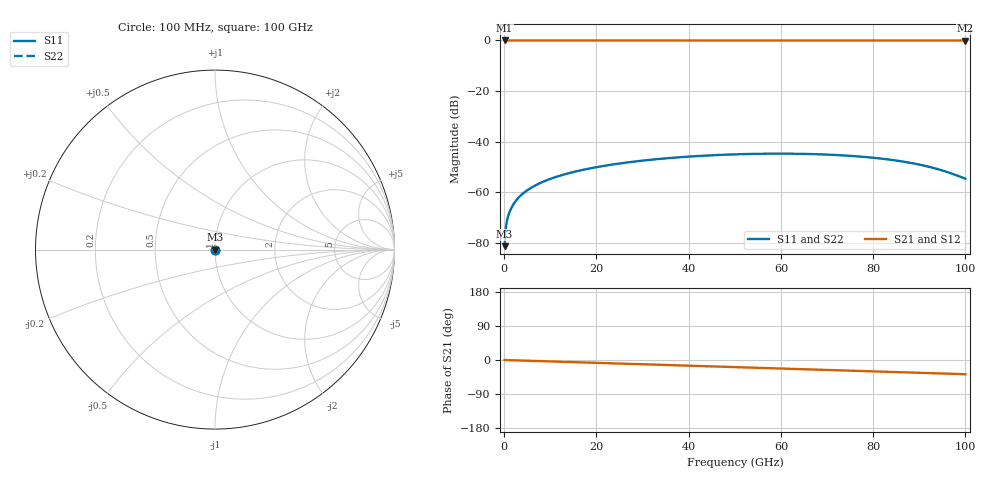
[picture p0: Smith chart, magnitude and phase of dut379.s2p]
! Touchstone file exported from HFSS 2026.1.0
!  File:  C:/ffzhzh/LocalFiles/Ansys_Project_Files/temp_train_TSV_379_1783510489_31944.aedt
!  Generated:  07:36:04 PM Jul  8, 2026
!  Design:  TSV
!  Project:  temp_train_TSV_379_1783510489_31944
! Variables:
!  h_bsmrdl = 2um
!  h_ox = 20um
!  h_rdl = 5um
!  h_sub = 71um
!  h_tmrdl = 5um
!  h_tsv = 71um
!  h_via = 3um
!  l_bsmrdl = 300um
!  l_sub = 428.38um
!  l_tmrdl = 200um
!  m_sub = 200um
!  pitch = 57.55um
!  r_tsv = 14.19um
!  s_tmrdl = 10um
!  w_bsmrdl = 18um
!  w_sub = 500um
!  w_tmrdl = 12um
!  x_tsv_center1 = 206um
!  x_tsv_center2 = 524um
!  x_tsv_center3 = 736um
!  x_tsv_center4 = 1054um
!  x_tsv_center5 = 1266um
!  x_tsv_center6 = 1584um
# GHz S MA R 50.000000
! Terminal data exported
! Port[1] = TSV1_1_T1
! Port[2] = TSV1_1_T2
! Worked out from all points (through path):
!   1000 points, 100 MHz to 100 GHz, reference 50 ohm
!   highest |S21| = 0.00 dB at 100 MHz (marker M1); lowest = 0.0 dB at 100 GHz (marker M2)
!   group delay of S21, straight-line fit = 1.04 ps
!   lowest |S11| = -81.3 dB at 100 MHz (marker M3), VSWR 1.00, Z = 50 + j0.00513 ohm
!   |S11| at or under -10 dB: start of sweep to end of sweep
!   |S22| runs from -81.3 to -44.7 dB; largest |S21 - S12| = 9.1e-15
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0.1  8.653e-05 36.3  0.9999 -0.0  0.9999 -0.0  8.653e-05 36.3
! Gamma 0 0 0 0
! Port Impedance 50 0 50 0
0.8  0.0003249 55.9  0.9998 -0.3  0.9998 -0.3  0.0003249 55.9
1  0.0003711 56.6  0.9998 -0.4  0.9998 -0.4  0.0003711 56.6
1.3  0.0004358 57.9  0.9998 -0.5  0.9998 -0.5  0.0004358 57.9
1.8  0.0005384 59.7  0.9997 -0.7  0.9997 -0.7  0.0005384 59.7
2.4  0.0006553 61.1  0.9997 -0.9  0.9997 -0.9  0.0006553 61.1
4  0.0009376 63.2  0.9996 -1.5  0.9996 -1.5  0.0009376 63.2
6.2  0.001286 64.9  0.9995 -2.3  0.9995 -2.3  0.001286 64.9
9.1  0.001717 65.9  0.9994 -3.4  0.9994 -3.4  0.001716 65.9
12.6  0.002201 66.3  0.9993 -4.7  0.9993 -4.7  0.002201 66.3
16.8  0.002748 66.2  0.9992 -6.3  0.9992 -6.3  0.002748 66.2
24.3  0.003637 65.1  0.999 -9.1  0.999 -9.1  0.003637 65.1
33.4  0.00455 62.8  0.9988 -12.5  0.9988 -12.5  0.00455 62.8
41.5  0.005183 60.2  0.9987 -15.5  0.9987 -15.5  0.005182 60.2
50.1  0.005634 57.0  0.9985 -18.7  0.9985 -18.7  0.005633 57.0
66.7  0.005704 49.3  0.9982 -24.9  0.9982 -24.9  0.005702 49.4
75.6  0.00522 43.9  0.9981 -28.3  0.9981 -28.3  0.005216 44.0
83.4  0.00445 37.5  0.998 -31.2  0.998 -31.2  0.004445 37.7
88.1  0.003824 32.1  0.9979 -33.0  0.9979 -33.0  0.003817 32.3
92.2  0.003182 25.3  0.9978 -34.5  0.9978 -34.5  0.003173 25.6
95.7  0.002583 16.5  0.9977 -35.9  0.9977 -35.9  0.002571 16.9
100  0.001861 -3.1  0.9976 -37.5  0.9976 -37.5  0.001843 -2.7
